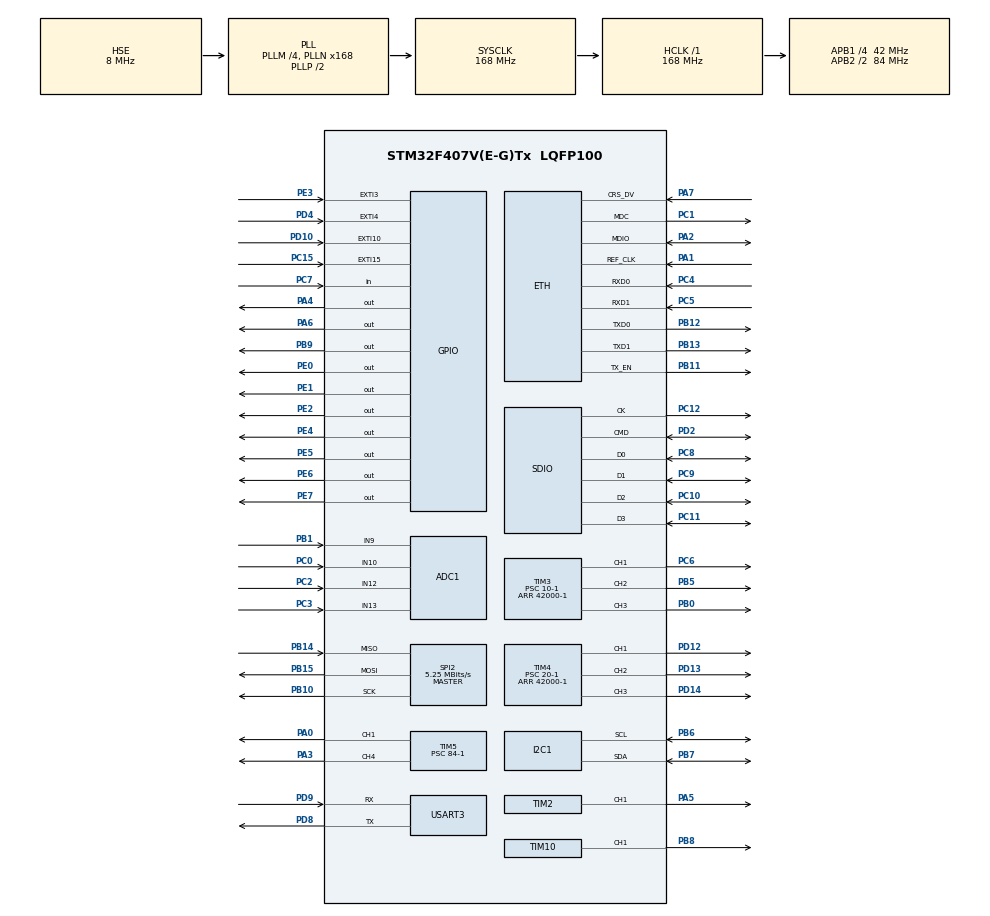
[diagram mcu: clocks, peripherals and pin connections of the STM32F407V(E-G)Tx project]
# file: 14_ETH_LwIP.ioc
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ADC1.Channel-0\#ChannelRegularConversion=ADC_CHANNEL_10
ADC1.Channel-1\#ChannelRegularConversion=ADC_CHANNEL_12
ADC1.Channel-2\#ChannelRegularConversion=ADC_CHANNEL_13
ADC1.Channel-3\#ChannelRegularConversion=ADC_CHANNEL_9
ADC1.ContinuousConvMode=ENABLE
ADC1.DMAContinuousRequests=ENABLE
ADC1.NbrOfConversion=4
ADC1.NbrOfConversionFlag=1
ADC1.Rank-0\#ChannelRegularConversion=1
ADC1.Rank-1\#ChannelRegularConversion=2
ADC1.Rank-2\#ChannelRegularConversion=3
ADC1.Rank-3\#ChannelRegularConversion=4
ADC1.SamplingTime-0\#ChannelRegularConversion=ADC_SAMPLETIME_84CYCLES
ADC1.SamplingTime-1\#ChannelRegularConversion=ADC_SAMPLETIME_84CYCLES
ADC1.SamplingTime-2\#ChannelRegularConversion=ADC_SAMPLETIME_84CYCLES
ADC1.SamplingTime-3\#ChannelRegularConversion=ADC_SAMPLETIME_84CYCLES
ADC1.ScanConvMode=ENABLE
ADC1.master=1
Dma.ADC1.0.Direction=DMA_PERIPH_TO_MEMORY
Dma.ADC1.0.FIFOMode=DMA_FIFOMODE_DISABLE
Dma.ADC1.0.Instance=DMA2_Stream0
Dma.ADC1.0.MemDataAlignment=DMA_MDATAALIGN_HALFWORD
Dma.ADC1.0.MemInc=DMA_MINC_ENABLE
Dma.ADC1.0.Mode=DMA_CIRCULAR
Dma.ADC1.0.PeriphDataAlignment=DMA_PDATAALIGN_HALFWORD
Dma.ADC1.0.PeriphInc=DMA_PINC_DISABLE
Dma.ADC1.0.Priority=DMA_PRIORITY_LOW
Dma.Request0=ADC1
Dma.Request1=SDIO_TX
Dma.Request2=SDIO_RX
Dma.SDIO_RX.2.Direction=DMA_PERIPH_TO_MEMORY
Dma.SDIO_RX.2.FIFOMode=DMA_FIFOMODE_ENABLE
Dma.SDIO_RX.2.FIFOThreshold=DMA_FIFO_THRESHOLD_FULL
Dma.SDIO_RX.2.Instance=DMA2_Stream6
Dma.SDIO_RX.2.MemBurst=DMA_MBURST_INC4
Dma.SDIO_RX.2.MemDataAlignment=DMA_MDATAALIGN_WORD
Dma.SDIO_RX.2.MemInc=DMA_MINC_ENABLE
Dma.SDIO_RX.2.Mode=DMA_PFCTRL
Dma.SDIO_RX.2.PeriphBurst=DMA_PBURST_INC4
Dma.SDIO_RX.2.PeriphDataAlignment=DMA_PDATAALIGN_WORD
Dma.SDIO_RX.2.PeriphInc=DMA_PINC_DISABLE
Dma.SDIO_RX.2.Priority=DMA_PRIORITY_LOW
Dma.SDIO_TX.1.Direction=DMA_MEMORY_TO_PERIPH
Dma.SDIO_TX.1.FIFOMode=DMA_FIFOMODE_ENABLE
Dma.SDIO_TX.1.FIFOThreshold=DMA_FIFO_THRESHOLD_FULL
Dma.SDIO_TX.1.Instance=DMA2_Stream3
Dma.SDIO_TX.1.MemBurst=DMA_MBURST_INC4
Dma.SDIO_TX.1.MemDataAlignment=DMA_MDATAALIGN_WORD
Dma.SDIO_TX.1.MemInc=DMA_MINC_ENABLE
Dma.SDIO_TX.1.Mode=DMA_PFCTRL
Dma.SDIO_TX.1.PeriphBurst=DMA_PBURST_INC4
Dma.SDIO_TX.1.PeriphDataAlignment=DMA_PDATAALIGN_WORD
Dma.SDIO_TX.1.PeriphInc=DMA_PINC_DISABLE
Dma.SDIO_TX.1.Priority=DMA_PRIORITY_LOW
ETH.MediaInterface=HAL_ETH_RMII_MODE
FATFS.USE_DMA_CODE_SD=1
FATFS._MAX_SS=512
FATFS._USE_LFN=1
I2C1.I2C_Mode=I2C_Fast
LWIP.BSP.number=1
LWIP.CHECKSUM_BY_HARDWARE=1
LWIP.GATEWAY_ADDRESS=192.168.035.001
LWIP.IP_ADDRESS=192.168.035.209
LWIP.LWIP_DHCP=0
LWIP.NETMASK_ADDRESS=255.255.255.000
LWIP.Version=v2.1.2_Cube
LWIP0.BSP.STBoard=false
LWIP0.BSP.api=BSP_COMPONENT_DRIVER
LWIP0.BSP.component=DP83848
LWIP0.BSP.instance=DP83848
LWIP0.BSP.name=Driver_PHY
LWIP0.BSP.semaphore=S_DP83848
LWIP0.BSP.solution=DP83848
Mcu.Family=STM32F4
Mcu.Name=STM32F407V(E-G)Tx
Mcu.Package=LQFP100
NVIC.DMA2_Stream0_IRQn=true\:0\:0\:false\:false\:true\:false\:true\:true
NVIC.DMA2_Stream3_IRQn=true\:0\:0\:false\:false\:true\:false\:true\:true
NVIC.DMA2_Stream6_IRQn=true\:0\:0\:false\:false\:true\:false\:true\:true
NVIC.EXTI15_10_IRQn=true\:0\:0\:false\:true\:true\:5\:true\:true\:true
NVIC.EXTI3_IRQn=true\:0\:0\:false\:true\:true\:3\:true\:true\:true
NVIC.EXTI4_IRQn=true\:0\:0\:false\:true\:true\:4\:true\:true\:true
NVIC.PriorityGroup=NVIC_PRIORITYGROUP_4
NVIC.SDIO_IRQn=true\:0\:0\:false\:false\:true\:true\:true\:true
NVIC.TIM7_IRQn=true\:0\:0\:false\:true\:true\:2\:true\:true\:true
NVIC.USART3_IRQn=true\:0\:0\:false\:true\:true\:1\:true\:true\:true
PA0-WKUP.Signal=S_TIM5_CH1
PA1.Mode=RMII
PA1.Signal=ETH_REF_CLK
PA2.Mode=RMII
PA2.Signal=ETH_MDIO
PA3.Signal=S_TIM5_CH4
PA4.Signal=GPIO_Output
PA5.Signal=S_TIM2_CH1_ETR
PA6.Signal=GPIO_Output
PA7.Mode=RMII
PA7.Signal=ETH_CRS_DV
PB0.Signal=S_TIM3_CH3
PB1.Signal=ADCx_IN9
PB10.Mode=Full_Duplex_Master
PB10.Signal=SPI2_SCK
PB11.Mode=RMII
PB11.Signal=ETH_TX_EN
PB12.Mode=RMII
PB12.Signal=ETH_TXD0
PB13.Mode=RMII
PB13.Signal=ETH_TXD1
PB14.Mode=Full_Duplex_Master
PB14.Signal=SPI2_MISO
PB15.Mode=Full_Duplex_Master
PB15.Signal=SPI2_MOSI
PB5.Signal=S_TIM3_CH2
PB6.Mode=I2C
PB6.Signal=I2C1_SCL
PB7.Mode=I2C
PB7.Signal=I2C1_SDA
PB8.Signal=S_TIM10_CH1
PB9.Signal=GPIO_Output
PC0.Signal=ADCx_IN10
PC1.Mode=RMII
PC1.Signal=ETH_MDC
PC10.Mode=SD_4_bits_Wide_bus
PC10.Signal=SDIO_D2
PC11.Mode=SD_4_bits_Wide_bus
PC11.Signal=SDIO_D3
PC12.Mode=SD_4_bits_Wide_bus
PC12.Signal=SDIO_CK
PC15-OSC32_OUT.Signal=GPXTI15
PC2.Signal=ADCx_IN12
PC3.Signal=ADCx_IN13
PC4.Mode=RMII
PC4.Signal=ETH_RXD0
PC5.Mode=RMII
PC5.Signal=ETH_RXD1
PC6.Signal=S_TIM3_CH1
PC7.Signal=GPIO_Input
PC8.Mode=SD_4_bits_Wide_bus
PC8.Signal=SDIO_D0
PC9.Mode=SD_4_bits_Wide_bus
PC9.Signal=SDIO_D1
PD10.Signal=GPXTI10
PD12.Signal=S_TIM4_CH1
PD13.Signal=S_TIM4_CH2
PD14.Signal=S_TIM4_CH3
PD2.Mode=SD_4_bits_Wide_bus
PD2.Signal=SDIO_CMD
PD4.Signal=GPXTI4
PD8.Mode=Asynchronous
PD8.Signal=USART3_TX
PD9.Mode=Asynchronous
PD9.Signal=USART3_RX
PE0.Signal=GPIO_Output
PE1.Signal=GPIO_Output
PE2.Signal=GPIO_Output
PE3.Signal=GPXTI3
PE4.Signal=GPIO_Output
PE5.Signal=GPIO_Output
PE6.Signal=GPIO_Output
PE7.Signal=GPIO_Output
PH0-OSC_IN.Mode=HSE-External-Oscillator
PH0-OSC_IN.Signal=RCC_OSC_IN
PH1-OSC_OUT.Mode=HSE-External-Oscillator
PH1-OSC_OUT.Signal=RCC_OSC_OUT
ProjectManager.HeapSize=0x200
ProjectManager.StackSize=0x400
ProjectManager.TargetToolchain=STM32CubeIDE
RCC.48MHZClocksFreq_Value=48000000
RCC.AHBFreq_Value=168000000
RCC.APB1CLKDivider=RCC_HCLK_DIV4
RCC.APB1Freq_Value=42000000
RCC.APB1TimFreq_Value=84000000
RCC.APB2CLKDivider=RCC_HCLK_DIV2
RCC.APB2Freq_Value=84000000
RCC.APB2TimFreq_Value=168000000
RCC.CortexFreq_Value=168000000
RCC.HCLKFreq_Value=168000000
RCC.HSE_VALUE=8000000
RCC.HSI_VALUE=16000000
RCC.LSE_VALUE=32768
RCC.PLLM=4
RCC.PLLN=168
RCC.PLLQ=7
RCC.PLLSourceVirtual=RCC_PLLSOURCE_HSE
RCC.SYSCLKFreq_VALUE=168000000
RCC.SYSCLKSource=RCC_SYSCLKSOURCE_PLLCLK
RCC.VCOOutputFreq_Value=336000000
SH.ADCx_IN10.0=ADC1_IN10,IN10
SH.ADCx_IN12.0=ADC1_IN12,IN12
SH.ADCx_IN13.0=ADC1_IN13,IN13
SH.ADCx_IN9.0=ADC1_IN9,IN9
SH.S_TIM10_CH1.0=TIM10_CH1,PWM Generation1 CH1
SH.S_TIM2_CH1_ETR.0=TIM2_CH1,PWM Generation1 CH1
SH.S_TIM3_CH1.0=TIM3_CH1,PWM Generation1 CH1
SH.S_TIM3_CH2.0=TIM3_CH2,PWM Generation2 CH2
SH.S_TIM3_CH3.0=TIM3_CH3,PWM Generation3 CH3
SH.S_TIM4_CH1.0=TIM4_CH1,PWM Generation1 CH1
SH.S_TIM4_CH2.0=TIM4_CH2,PWM Generation2 CH2
SH.S_TIM4_CH3.0=TIM4_CH3,PWM Generation3 CH3
SH.S_TIM5_CH1.0=TIM5_CH1,PWM Generation1 CH1
SH.S_TIM5_CH4.0=TIM5_CH4,PWM Generation4 CH4
SPI2.BaudRatePrescaler=SPI_BAUDRATEPRESCALER_8
SPI2.CLKPhase=SPI_PHASE_2EDGE
SPI2.CLKPolarity=SPI_POLARITY_HIGH
SPI2.CalculateBaudRate=5.25 MBits/s
SPI2.Direction=SPI_DIRECTION_2LINES
SPI2.Mode=SPI_MODE_MASTER
SPI2.VirtualType=VM_MASTER
TIM10.Channel=TIM_CHANNEL_1
TIM10.Period=10000-1
TIM10.Prescaler=336-1
TIM10.Pulse=100
TIM2.Channel-PWM\ Generation1\ CH1=TIM_CHANNEL_1
TIM2.Period=168-1
TIM2.Prescaler=1000-1
TIM2.Pulse-PWM\ Generation1\ CH1=84
TIM3.Channel-PWM\ Generation1\ CH1=TIM_CHANNEL_1
TIM3.Channel-PWM\ Generation2\ CH2=TIM_CHANNEL_2
TIM3.Channel-PWM\ Generation3\ CH3=TIM_CHANNEL_3
TIM3.Period=42000-1
TIM3.Prescaler=10-1
TIM3.Pulse-PWM\ Generation1\ CH1=21000-1
TIM3.Pulse-PWM\ Generation2\ CH2=10500-1
TIM3.Pulse-PWM\ Generation3\ CH3=5250-1
TIM4.Channel-PWM\ Generation1\ CH1=TIM_CHANNEL_1
TIM4.Channel-PWM\ Generation2\ CH2=TIM_CHANNEL_2
TIM4.Channel-PWM\ Generation3\ CH3=TIM_CHANNEL_3
TIM4.Period=42000-1
TIM4.Prescaler=20-1
TIM4.Pulse-PWM\ Generation1\ CH1=21000-1
TIM4.Pulse-PWM\ Generation2\ CH2=10500-1
TIM4.Pulse-PWM\ Generation3\ CH3=5250-1
TIM5.Channel-PWM\ Generation1\ CH1=TIM_CHANNEL_1
TIM5.Channel-PWM\ Generation4\ CH4=TIM_CHANNEL_4
TIM5.Period=10000-1
TIM5.Prescaler=84-1
TIM5.Pulse-PWM\ Generation4\ CH4=5000
TIM7.Period=8400-1
TIM7.Prescaler=10-1
USART3.VirtualMode=VM_ASYNC
VP_FATFS_VS_SDIO.Mode=SDIO
VP_LWIP_VS_Enabled.Mode=Enabled
VP_TIM10_VS_ClockSourceINT.Mode=Enable_Timer
VP_TIM2_VS_ClockSourceINT.Mode=Internal
VP_TIM3_VS_ClockSourceINT.Mode=Internal
VP_TIM4_VS_ClockSourceINT.Mode=Internal
VP_TIM5_VS_ClockSourceINT.Mode=Internal
VP_TIM7_VS_ClockSourceINT.Mode=Enable_Timer
board=custom

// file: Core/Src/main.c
/* USER CODE BEGIN Header */
/**
 ******************************************************************************
 * @file           : main.c
 * @brief          : Main program body
 ******************************************************************************
 * @attention
 *
 * Copyright (c) 2024 STMicroelectronics.
 * All rights reserved.
 *
 * This software is licensed under terms that can be found in the LICENSE file
 * in the root directory of this software component.
 * If no LICENSE file comes with this software, it is provided AS-IS.
 *
 ******************************************************************************
 */
/* USER CODE END Header */
#include "main.h"
#include "fatfs.h"
#include "lwip.h"

/* USER CODE BEGIN Includes */
#include <stdio.h>
#include <string.h>
#include "CLCD.h"
#include "7SEG.h"
#include <math.h>
#include "VS1003.h"
#include "MP3Sample.h"
#include "udp_echoserver.h"
/* USER CODE END Includes */

ADC_HandleTypeDef hadc1;
DMA_HandleTypeDef hdma_adc1;

I2C_HandleTypeDef hi2c1;

SD_HandleTypeDef hsd;
DMA_HandleTypeDef hdma_sdio_tx;
DMA_HandleTypeDef hdma_sdio_rx;

SPI_HandleTypeDef hspi2;

TIM_HandleTypeDef htim2;
TIM_HandleTypeDef htim3;
TIM_HandleTypeDef htim4;
TIM_HandleTypeDef htim5;
TIM_HandleTypeDef htim7;
TIM_HandleTypeDef htim10;

UART_HandleTypeDef huart3;

/* USER CODE BEGIN PV */
uint8_t rx3_data;
uint8_t buf = 0;
uint8_t rx3_buf[100];

uint8_t sw1_flag = 0;
uint8_t sw2_flag = 0;
uint8_t sw3_flag = 0;
uint8_t sw4_flag = 0;

extern uint8_t udp_data;
extern uint8_t udp_flag;
/* USER CODE END PV */

void SystemClock_Config(void);
static void MX_GPIO_Init(void);
static void MX_DMA_Init(void);
static void MX_USART3_UART_Init(void);
static void MX_TIM7_Init(void);
static void MX_TIM3_Init(void);
static void MX_TIM4_Init(void);
static void MX_TIM10_Init(void);
static void MX_TIM2_Init(void);
static void MX_TIM5_Init(void);
static void MX_ADC1_Init(void);
static void MX_I2C1_Init(void);
static void MX_SPI2_Init(void);
static void MX_SDIO_SD_Init(void);
static void MX_NVIC_Init(void);
/* USER CODE BEGIN PFP */
int _write(int file, char *p, int len)
{
	HAL_UART_Transmit(&huart3, p, len, 10);
	return len;
}

void HAL_UART_RxCpltCallback(UART_HandleTypeDef *huart)
{
	if (huart->Instance == USART3)
	{
		if (buf < 100 - 1)
		{
			buf++;
		}
		else
		{
			buf = 0;
		}

		if (rx3_buf[buf - 1] == '\n')
		{
			rx3_buf[buf - 1] = '\0';
			buf = 0;
		}

		HAL_UART_Receive_IT(&huart3, &rx3_buf[buf], 1);
	}
}

void HAL_TIM_PeriodElapsedCallback(TIM_HandleTypeDef *htim)
{
	static unsigned char cnt = 0;

//	if (htim->Instance == TIM7) {
//		/*Sin wave*/
//		HAL_DAC_SetValue(&hdac, DAC_CHANNEL_1, DAC_ALIGN_12B_R, (sinf(2 * 3.1415926535f * 100 * cnt / 1000.f) + 1) * 2047); // 100Hz code (this code MAX Frequency 499Hz)
//		cnt++;
//		if(cnt > 999) cnt = 0;
//	}
}

void HAL_GPIO_EXTI_Callback(uint16_t GPIO_Pin)
{
	if (GPIO_Pin == GPIO_PIN_3)
	{
		sw1_flag = 1;
	}
	if (GPIO_Pin == GPIO_PIN_15)
	{
		sw2_flag = 1;
	}
	if (GPIO_Pin == GPIO_PIN_4)
	{
		sw3_flag = 1;
	}
	if (GPIO_Pin == GPIO_PIN_10)
	{
		sw4_flag = 1;
	}
}
/* USER CODE END PFP */

int main(void)
{
	/* USER CODE BEGIN 1 */
	volatile uint16_t adcval[4];
	/* USER CODE END 1 */

	/* MCU Configuration--------------------------------------------------------*/

	/* Reset of all peripherals, Initializes the Flash interface and the Systick. */
	HAL_Init();

	/* Configure the system clock */
	SystemClock_Config();

	/* Initialize all configured peripherals */
	MX_GPIO_Init();
	MX_DMA_Init();
	MX_USART3_UART_Init();
	MX_TIM7_Init();
	MX_TIM3_Init();
	MX_TIM4_Init();
	MX_TIM10_Init();
	MX_TIM2_Init();
	MX_TIM5_Init();
	MX_ADC1_Init();
	MX_I2C1_Init();
	MX_SPI2_Init();
	MX_SDIO_SD_Init();
	MX_FATFS_Init();
	MX_LWIP_Init();

	/* Initialize interrupts */
	MX_NVIC_Init();
	/* USER CODE BEGIN 2 */
	HAL_GPIO_WritePin(GPIOD, GPIO_PIN_12, GPIO_PIN_SET);
	HAL_GPIO_WritePin(GPIOD, GPIO_PIN_13, GPIO_PIN_SET);
	HAL_GPIO_WritePin(GPIOD, GPIO_PIN_14, GPIO_PIN_SET);
	HAL_GPIO_WritePin(GPIOC, GPIO_PIN_6, GPIO_PIN_SET);
	HAL_GPIO_WritePin(GPIOB, GPIO_PIN_0, GPIO_PIN_SET);
	HAL_GPIO_WritePin(GPIOB, GPIO_PIN_5, GPIO_PIN_SET);

//	HAL_UART_Receive_IT(&huart3, &rx3_buf[buf], 1);
	HAL_TIM_Base_Start_IT(&htim7);

//	HAL_TIM_PWM_Start(&htim3, TIM_CHANNEL_1);
//	HAL_TIM_PWM_Start(&htim3, TIM_CHANNEL_2);
//	HAL_TIM_PWM_Start(&htim3, TIM_CHANNEL_3);
//	HAL_TIM_PWM_Start(&htim4, TIM_CHANNEL_1);
//	HAL_TIM_PWM_Start(&htim4, TIM_CHANNEL_2);
//	HAL_TIM_PWM_Start(&htim4, TIM_CHANNEL_3);

	/*Servo motor*/
//	HAL_TIM_PWM_Start(&htim10, TIM_CHANNEL_1);
//	TIM10->CCR1 = 1500;
	/*Buzzer*/
//	HAL_TIM_PWM_Start(&htim2, TIM_CHANNEL_1);
//	TIM2->ARR = 500 - 1;
//	TIM2->CCR1 = 250;
	/*DC motor 100Hz Positive*/
//	HAL_TIM_PWM_Start(&htim5, TIM_CHANNEL_4); // motor driver input A, 50% pwm
//	HAL_TIM_PWM_Start(&htim5, TIM_CHANNEL_1); // motor driver input B, 0% pwm
	/*DC motor 100Hz Negative*/
//	TIM5->CCR4 = 0;
//	TIM5->CCR1 = 5000;
//
//	HAL_ADC_Start_DMA(&hadc1, &adcval[0], 4);
//	HAL_DAC_Start(&hdac, DAC_CHANNEL_1);
	VS1003_Init();
	VS1003_SoftReset();

	/* tcp echo server Init */
	udp_echoserver_init();

	CLCD_GPIO_Init();
	CLCD_Init();

	CLCD_Puts(0, 0, "Welcome to");
	CLCD_Puts(0, 1, "Kkang Home");

	CLCD_Clear();

//	_7SEG_GPIO_Init();
	/* USER CODE END 2 */

	/* Infinite loop */
	/* USER CODE BEGIN WHILE */
	uint8_t a = 0;
	uint8_t str[20];
	uint16_t ccr = 0;
	uint16_t arr = 1000;
	uint16_t psc = 1000;
	uint8_t ud_flag = 0;
	uint16_t dacval = 0;
	uint8_t eeprom[10] = { 0x00, 0x11, 0x22, 0x33, 0x44, 0x55, 0x66, 0x77, 0x88, 0x99 };
	int i = 0;

	BYTE buf[32] = "Hello world";
	uint32_t bw, br;
	uint8_t pp_flag = 0;

	/*FS Initialized ===> allocate '0:/'Drive*/
	if ((retSD = f_mount(&SDFatFS, &SDPath[0], 1)) == FR_OK)
	{
		sprintf(str, "f_mount OK %d", retSD);
		CLCD_Puts(0, 0, str);
	}
	else
	{
		sprintf(str, "f_mount failed %d", retSD);
		CLCD_Puts(0, 0, str);
	}

	/*File List in SD Card*/
	DIR dir;
	FILINFO filinfo;
	uint16_t filecnt = 0;

	if ((retSD = f_opendir(&dir, "0:/")) == FR_OK)
	{
		while (1)
		{
			retSD = f_readdir(&dir, &filinfo);
			if (dir.sect == 0)
				break;

			printf("%s\t0x%x\n", filinfo.fname, filinfo.fattrib);
			filecnt++;
		}
		printf("\nTotal %d file(s)..\n\n", filecnt);
	}
	else
	{
		printf("The file/directory object is invalid! %d\n", retSD);
	}

	/*Open File*/
	unsigned char filename[20] = "0:/1.mp3";
	uint16_t index = 0;

	if ((retSD = f_open(&SDFile, filename, FA_OPEN_EXISTING | FA_READ)) == FR_OK)
	{
		CLCD_Clear();
		sprintf(str, "%s opened", filename);
		CLCD_Puts(0, 0, str);
	}
	else
	{
		sprintf(str, "open error %d\n", retSD);
		CLCD_Puts(0, 0, str);
	}

	while (1)
	{
		if (MP3_DREQ == 1)
		{
			if (pp_flag)
			{
				f_read(&SDFile, buf, 32, &br);
				if (br >= 32)
				{
					VS1003_WriteData(buf);
				}
				else
				{

				}
			}
		}

		if (udp_flag)
		{
			udp_flag = 0;
			switch (udp_data)
			{
				case '1':
					sw1_flag = 1;
					break;
				case '2':
					sw2_flag = 1;
					break;
				case '3':
					sw3_flag = 1;
					break;
			}
		}

		/*play to previous song*/
		if (sw1_flag)
		{
			sw1_flag = 0;

			index = index == 0 ? 2 : index - 1;
			switch (index)
			{
				case 0:
					strcpy(filename, "0:/1.mp3");
					break;
				case 1:
					strcpy(filename, "0:/2.wav");
					break;
				case 2:
					strcpy(filename, "0:/3.mp3");
					break;
			}

			f_close(&SDFile);

			if ((retSD = f_open(&SDFile, filename, FA_OPEN_EXISTING | FA_READ)) == FR_OK)
			{
				CLCD_Clear();
				sprintf(str, "%s opened", filename);
				CLCD_Puts(0, 0, str);
			}
			else
			{
				sprintf(str, "open error %d\n", retSD);
				CLCD_Puts(0, 0, str);
			}

			VS1003_SoftReset();
		}

		/*pause & play song*/
		if (sw2_flag)
		{
			sw2_flag = 0;
			if (pp_flag)
			{
				pp_flag = 0;
				CLCD_Puts(0, 1, "paused");
			}
			else
			{
				pp_flag = 1;
				CLCD_Puts(0, 1, "playing");
			}
		}

		/*play to next song*/
		if (sw3_flag)
		{
			sw3_flag = 0;

			index = index == 2 ? 0 : index + 1;
			switch (index)
			{
				case 0:
					strcpy(filename, "0:/1.mp3");
					break;
				case 1:
					strcpy(filename, "0:/2.wav");
					break;
				case 2:
					strcpy(filename, "0:/3.mp3");
					break;
			}

			f_close(&SDFile);

			if ((retSD = f_open(&SDFile, filename, FA_OPEN_EXISTING | FA_READ)) == FR_OK)
			{
				CLCD_Clear();
				sprintf(str, "%s opened", filename);
				CLCD_Puts(0, 0, str);
			}
			else
			{
				sprintf(str, "open error %d\n", retSD);
				CLCD_Puts(0, 0, str);
			}

			VS1003_SoftReset();
		}

		/* Read a received packet from the Ethernet buffers and send it
		 to the lwIP for handling */
		ethernetif_input(&gnetif);

		/* Handle timeouts */
		sys_check_timeouts();

		/* USER CODE END WHILE */

	}
}

void SystemClock_Config(void)
{
	RCC_OscInitTypeDef RCC_OscInitStruct = { 0 };
	RCC_ClkInitTypeDef RCC_ClkInitStruct = { 0 };

	/** Configure the main internal regulator output voltage
	 */
	__HAL_RCC_PWR_CLK_ENABLE();
	__HAL_PWR_VOLTAGESCALING_CONFIG(PWR_REGULATOR_VOLTAGE_SCALE1);

	/** Initializes the RCC Oscillators according to the specified parameters
	 * in the RCC_OscInitTypeDef structure.
	 */
	RCC_OscInitStruct.OscillatorType = RCC_OSCILLATORTYPE_HSE;
	RCC_OscInitStruct.HSEState = RCC_HSE_ON;
	RCC_OscInitStruct.PLL.PLLState = RCC_PLL_ON;
	RCC_OscInitStruct.PLL.PLLSource = RCC_PLLSOURCE_HSE;
	RCC_OscInitStruct.PLL.PLLM = 4;
	RCC_OscInitStruct.PLL.PLLN = 168;
	RCC_OscInitStruct.PLL.PLLP = RCC_PLLP_DIV2;
	RCC_OscInitStruct.PLL.PLLQ = 7;
	if (HAL_RCC_OscConfig(&RCC_OscInitStruct) != HAL_OK)
	{
		Error_Handler();
	}

	/** Initializes the CPU, AHB and APB buses clocks
	 */
	RCC_ClkInitStruct.ClockType = RCC_CLOCKTYPE_HCLK | RCC_CLOCKTYPE_SYSCLK | RCC_CLOCKTYPE_PCLK1 | RCC_CLOCKTYPE_PCLK2;
	RCC_ClkInitStruct.SYSCLKSource = RCC_SYSCLKSOURCE_PLLCLK;
	RCC_ClkInitStruct.AHBCLKDivider = RCC_SYSCLK_DIV1;
	RCC_ClkInitStruct.APB1CLKDivider = RCC_HCLK_DIV4;
	RCC_ClkInitStruct.APB2CLKDivider = RCC_HCLK_DIV2;

	if (HAL_RCC_ClockConfig(&RCC_ClkInitStruct, FLASH_LATENCY_5) != HAL_OK)
	{
		Error_Handler();
	}
}

/**
 * @brief NVIC Configuration.
 * @retval None
 */
static void MX_NVIC_Init(void)
{
	/* USART3_IRQn interrupt configuration */
	HAL_NVIC_SetPriority(USART3_IRQn, 0, 0);
	HAL_NVIC_EnableIRQ(USART3_IRQn);
	/* TIM7_IRQn interrupt configuration */
	HAL_NVIC_SetPriority(TIM7_IRQn, 0, 0);
	HAL_NVIC_EnableIRQ(TIM7_IRQn);
	/* EXTI3_IRQn interrupt configuration */
	HAL_NVIC_SetPriority(EXTI3_IRQn, 0, 0);
	HAL_NVIC_EnableIRQ(EXTI3_IRQn);
	/* EXTI4_IRQn interrupt configuration */
	HAL_NVIC_SetPriority(EXTI4_IRQn, 0, 0);
	HAL_NVIC_EnableIRQ(EXTI4_IRQn);
	/* EXTI15_10_IRQn interrupt configuration */
	HAL_NVIC_SetPriority(EXTI15_10_IRQn, 0, 0);
	HAL_NVIC_EnableIRQ(EXTI15_10_IRQn);
}

static void MX_ADC1_Init(void)
{

	ADC_ChannelConfTypeDef sConfig = { 0 };

	/** Configure the global features of the ADC (Clock, Resolution, Data Alignment and number of conversion)
	 */
	hadc1.Instance = ADC1;
	hadc1.Init.ClockPrescaler = ADC_CLOCK_SYNC_PCLK_DIV4;
	hadc1.Init.Resolution = ADC_RESOLUTION_12B;
	hadc1.Init.ScanConvMode = ENABLE;
	hadc1.Init.ContinuousConvMode = ENABLE;
	hadc1.Init.DiscontinuousConvMode = DISABLE;
	hadc1.Init.ExternalTrigConvEdge = ADC_EXTERNALTRIGCONVEDGE_NONE;
	hadc1.Init.ExternalTrigConv = ADC_SOFTWARE_START;
	hadc1.Init.DataAlign = ADC_DATAALIGN_RIGHT;
	hadc1.Init.NbrOfConversion = 4;
	hadc1.Init.DMAContinuousRequests = ENABLE;
	hadc1.Init.EOCSelection = ADC_EOC_SINGLE_CONV;
	if (HAL_ADC_Init(&hadc1) != HAL_OK)
	{
		Error_Handler();
	}

	/** Configure for the selected ADC regular channel its corresponding rank in the sequencer and its sample time.
	 */
	sConfig.Channel = ADC_CHANNEL_10;
	sConfig.Rank = 1;
	sConfig.SamplingTime = ADC_SAMPLETIME_84CYCLES;
	if (HAL_ADC_ConfigChannel(&hadc1, &sConfig) != HAL_OK)
	{
		Error_Handler();
	}

	/** Configure for the selected ADC regular channel its corresponding rank in the sequencer and its sample time.
	 */
	sConfig.Channel = ADC_CHANNEL_12;
	sConfig.Rank = 2;
	if (HAL_ADC_ConfigChannel(&hadc1, &sConfig) != HAL_OK)
	{
		Error_Handler();
	}

	/** Configure for the selected ADC regular channel its corresponding rank in the sequencer and its sample time.
	 */
	sConfig.Channel = ADC_CHANNEL_13;
	sConfig.Rank = 3;
	if (HAL_ADC_ConfigChannel(&hadc1, &sConfig) != HAL_OK)
	{
		Error_Handler();
	}

	/** Configure for the selected ADC regular channel its corresponding rank in the sequencer and its sample time.
	 */
	sConfig.Channel = ADC_CHANNEL_9;
	sConfig.Rank = 4;
	if (HAL_ADC_ConfigChannel(&hadc1, &sConfig) != HAL_OK)
	{
		Error_Handler();
	}

}

static void MX_I2C1_Init(void)
{

	hi2c1.Instance = I2C1;
	hi2c1.Init.ClockSpeed = 400000;
	hi2c1.Init.DutyCycle = I2C_DUTYCYCLE_2;
	hi2c1.Init.OwnAddress1 = 0;
	hi2c1.Init.AddressingMode = I2C_ADDRESSINGMODE_7BIT;
	hi2c1.Init.DualAddressMode = I2C_DUALADDRESS_DISABLE;
	hi2c1.Init.OwnAddress2 = 0;
	hi2c1.Init.GeneralCallMode = I2C_GENERALCALL_DISABLE;
	hi2c1.Init.NoStretchMode = I2C_NOSTRETCH_DISABLE;
	if (HAL_I2C_Init(&hi2c1) != HAL_OK)
	{
		Error_Handler();
	}

}

static void MX_SDIO_SD_Init(void)
{

	hsd.Instance = SDIO;
	hsd.Init.ClockEdge = SDIO_CLOCK_EDGE_RISING;
	hsd.Init.ClockBypass = SDIO_CLOCK_BYPASS_DISABLE;
	hsd.Init.ClockPowerSave = SDIO_CLOCK_POWER_SAVE_DISABLE;
	hsd.Init.BusWide = SDIO_BUS_WIDE_4B;
	hsd.Init.HardwareFlowControl = SDIO_HARDWARE_FLOW_CONTROL_DISABLE;
	hsd.Init.ClockDiv = 0;

}

static void MX_SPI2_Init(void)
{

	/* SPI2 parameter configuration*/
	hspi2.Instance = SPI2;
	hspi2.Init.Mode = SPI_MODE_MASTER;
	hspi2.Init.Direction = SPI_DIRECTION_2LINES;
	hspi2.Init.DataSize = SPI_DATASIZE_8BIT;
	hspi2.Init.CLKPolarity = SPI_POLARITY_HIGH;
	hspi2.Init.CLKPhase = SPI_PHASE_2EDGE;
	hspi2.Init.NSS = SPI_NSS_SOFT;
	hspi2.Init.BaudRatePrescaler = SPI_BAUDRATEPRESCALER_8;
	hspi2.Init.FirstBit = SPI_FIRSTBIT_MSB;
	hspi2.Init.TIMode = SPI_TIMODE_DISABLE;
	hspi2.Init.CRCCalculation = SPI_CRCCALCULATION_DISABLE;
	hspi2.Init.CRCPolynomial = 10;
	if (HAL_SPI_Init(&hspi2) != HAL_OK)
	{
		Error_Handler();
	}

}

static void MX_TIM2_Init(void)
{

	TIM_ClockConfigTypeDef sClockSourceConfig = { 0 };
	TIM_MasterConfigTypeDef sMasterConfig = { 0 };
	TIM_OC_InitTypeDef sConfigOC = { 0 };

	htim2.Instance = TIM2;
	htim2.Init.Prescaler = 1000 - 1;
	htim2.Init.CounterMode = TIM_COUNTERMODE_UP;
	htim2.Init.Period = 168 - 1;
	htim2.Init.ClockDivision = TIM_CLOCKDIVISION_DIV1;
	htim2.Init.AutoReloadPreload = TIM_AUTORELOAD_PRELOAD_DISABLE;
	if (HAL_TIM_Base_Init(&htim2) != HAL_OK)
	{
		Error_Handler();
	}
	sClockSourceConfig.ClockSource = TIM_CLOCKSOURCE_INTERNAL;
	if (HAL_TIM_ConfigClockSource(&htim2, &sClockSourceConfig) != HAL_OK)
	{
		Error_Handler();
	}
	if (HAL_TIM_PWM_Init(&htim2) != HAL_OK)
	{
		Error_Handler();
	}
	sMasterConfig.MasterOutputTrigger = TIM_TRGO_RESET;
	sMasterConfig.MasterSlaveMode = TIM_MASTERSLAVEMODE_DISABLE;
	if (HAL_TIMEx_MasterConfigSynchronization(&htim2, &sMasterConfig) != HAL_OK)
	{
		Error_Handler();
	}
	sConfigOC.OCMode = TIM_OCMODE_PWM1;
	sConfigOC.Pulse = 84;
	sConfigOC.OCPolarity = TIM_OCPOLARITY_HIGH;
	sConfigOC.OCFastMode = TIM_OCFAST_DISABLE;
	if (HAL_TIM_PWM_ConfigChannel(&htim2, &sConfigOC, TIM_CHANNEL_1) != HAL_OK)
	{
		Error_Handler();
	}
	HAL_TIM_MspPostInit(&htim2);

}

static void MX_TIM3_Init(void)
{

	TIM_ClockConfigTypeDef sClockSourceConfig = { 0 };
	TIM_MasterConfigTypeDef sMasterConfig = { 0 };
	TIM_OC_InitTypeDef sConfigOC = { 0 };

	htim3.Instance = TIM3;
	htim3.Init.Prescaler = 10 - 1;
	htim3.Init.CounterMode = TIM_COUNTERMODE_UP;
	htim3.Init.Period = 42000 - 1;
	htim3.Init.ClockDivision = TIM_CLOCKDIVISION_DIV1;
	htim3.Init.AutoReloadPreload = TIM_AUTORELOAD_PRELOAD_DISABLE;
	if (HAL_TIM_Base_Init(&htim3) != HAL_OK)
	{
		Error_Handler();
	}
	sClockSourceConfig.ClockSource = TIM_CLOCKSOURCE_INTERNAL;
	if (HAL_TIM_ConfigClockSource(&htim3, &sClockSourceConfig) != HAL_OK)
	{
		Error_Handler();
	}
	if (HAL_TIM_PWM_Init(&htim3) != HAL_OK)
	{
		Error_Handler();
	}
	sMasterConfig.MasterOutputTrigger = TIM_TRGO_RESET;
	sMasterConfig.MasterSlaveMode = TIM_MASTERSLAVEMODE_DISABLE;
	if (HAL_TIMEx_MasterConfigSynchronization(&htim3, &sMasterConfig) != HAL_OK)
	{
		Error_Handler();
	}
	sConfigOC.OCMode = TIM_OCMODE_PWM1;
	sConfigOC.Pulse = 21000 - 1;
	sConfigOC.OCPolarity = TIM_OCPOLARITY_HIGH;
	sConfigOC.OCFastMode = TIM_OCFAST_DISABLE;
	if (HAL_TIM_PWM_ConfigChannel(&htim3, &sConfigOC, TIM_CHANNEL_1) != HAL_OK)
	{
		Error_Handler();
	}
	sConfigOC.Pulse = 10500 - 1;
	if (HAL_TIM_PWM_ConfigChannel(&htim3, &sConfigOC, TIM_CHANNEL_2) != HAL_OK)
	{
		Error_Handler();
	}
	sConfigOC.Pulse = 5250 - 1;
	if (HAL_TIM_PWM_ConfigChannel(&htim3, &sConfigOC, TIM_CHANNEL_3) != HAL_OK)
	{
		Error_Handler();
	}
	HAL_TIM_MspPostInit(&htim3);

}

static void MX_TIM4_Init(void)
{

	TIM_ClockConfigTypeDef sClockSourceConfig = { 0 };
	TIM_MasterConfigTypeDef sMasterConfig = { 0 };
	TIM_OC_InitTypeDef sConfigOC = { 0 };

	htim4.Instance = TIM4;
	htim4.Init.Prescaler = 20 - 1;
	htim4.Init.CounterMode = TIM_COUNTERMODE_UP;
	htim4.Init.Period = 42000 - 1;
	htim4.Init.ClockDivision = TIM_CLOCKDIVISION_DIV1;
	htim4.Init.AutoReloadPreload = TIM_AUTORELOAD_PRELOAD_DISABLE;
	if (HAL_TIM_Base_Init(&htim4) != HAL_OK)
	{
		Error_Handler();
	}
	sClockSourceConfig.ClockSource = TIM_CLOCKSOURCE_INTERNAL;
	if (HAL_TIM_ConfigClockSource(&htim4, &sClockSourceConfig) != HAL_OK)
	{
		Error_Handler();
	}
	if (HAL_TIM_PWM_Init(&htim4) != HAL_OK)
	{
		Error_Handler();
	}
	sMasterConfig.MasterOutputTrigger = TIM_TRGO_RESET;
	sMasterConfig.MasterSlaveMode = TIM_MASTERSLAVEMODE_DISABLE;
	if (HAL_TIMEx_MasterConfigSynchronization(&htim4, &sMasterConfig) != HAL_OK)
	{
		Error_Handler();
	}
	sConfigOC.OCMode = TIM_OCMODE_PWM1;
	sConfigOC.Pulse = 21000 - 1;
	sConfigOC.OCPolarity = TIM_OCPOLARITY_HIGH;
	sConfigOC.OCFastMode = TIM_OCFAST_DISABLE;
	if (HAL_TIM_PWM_ConfigChannel(&htim4, &sConfigOC, TIM_CHANNEL_1) != HAL_OK)
	{
		Error_Handler();
	}
	sConfigOC.Pulse = 10500 - 1;
	if (HAL_TIM_PWM_ConfigChannel(&htim4, &sConfigOC, TIM_CHANNEL_2) != HAL_OK)
	{
		Error_Handler();
	}
	sConfigOC.Pulse = 5250 - 1;
	if (HAL_TIM_PWM_ConfigChannel(&htim4, &sConfigOC, TIM_CHANNEL_3) != HAL_OK)
	{
		Error_Handler();
	}
	HAL_TIM_MspPostInit(&htim4);

}

static void MX_TIM5_Init(void)
{

	TIM_ClockConfigTypeDef sClockSourceConfig = { 0 };
	TIM_MasterConfigTypeDef sMasterConfig = { 0 };
	TIM_OC_InitTypeDef sConfigOC = { 0 };

	htim5.Instance = TIM5;
	htim5.Init.Prescaler = 84 - 1;
	htim5.Init.CounterMode = TIM_COUNTERMODE_UP;
	htim5.Init.Period = 10000 - 1;
	htim5.Init.ClockDivision = TIM_CLOCKDIVISION_DIV1;
	htim5.Init.AutoReloadPreload = TIM_AUTORELOAD_PRELOAD_DISABLE;
	if (HAL_TIM_Base_Init(&htim5) != HAL_OK)
	{
		Error_Handler();
	}
	sClockSourceConfig.ClockSource = TIM_CLOCKSOURCE_INTERNAL;
	if (HAL_TIM_ConfigClockSource(&htim5, &sClockSourceConfig) != HAL_OK)
	{
		Error_Handler();
	}
	if (HAL_TIM_PWM_Init(&htim5) != HAL_OK)
	{
		Error_Handler();
	}
	sMasterConfig.MasterOutputTrigger = TIM_TRGO_RESET;
	sMasterConfig.MasterSlaveMode = TIM_MASTERSLAVEMODE_DISABLE;
	if (HAL_TIMEx_MasterConfigSynchronization(&htim5, &sMasterConfig) != HAL_OK)
	{
		Error_Handler();
	}
	sConfigOC.OCMode = TIM_OCMODE_PWM1;
	sConfigOC.Pulse = 0;
	sConfigOC.OCPolarity = TIM_OCPOLARITY_HIGH;
	sConfigOC.OCFastMode = TIM_OCFAST_DISABLE;
	if (HAL_TIM_PWM_ConfigChannel(&htim5, &sConfigOC, TIM_CHANNEL_1) != HAL_OK)
	{
		Error_Handler();
	}
	sConfigOC.Pulse = 5000;
	if (HAL_TIM_PWM_ConfigChannel(&htim5, &sConfigOC, TIM_CHANNEL_4) != HAL_OK)
	{
		Error_Handler();
	}
	HAL_TIM_MspPostInit(&htim5);

}

static void MX_TIM7_Init(void)
{

	TIM_MasterConfigTypeDef sMasterConfig = { 0 };

	htim7.Instance = TIM7;
	htim7.Init.Prescaler = 10 - 1;
	htim7.Init.CounterMode = TIM_COUNTERMODE_UP;
	htim7.Init.Period = 8400 - 1;
	htim7.Init.AutoReloadPreload = TIM_AUTORELOAD_PRELOAD_DISABLE;
	if (HAL_TIM_Base_Init(&htim7) != HAL_OK)
	{
		Error_Handler();
	}
	sMasterConfig.MasterOutputTrigger = TIM_TRGO_RESET;
	sMasterConfig.MasterSlaveMode = TIM_MASTERSLAVEMODE_DISABLE;
	if (HAL_TIMEx_MasterConfigSynchronization(&htim7, &sMasterConfig) != HAL_OK)
	{
		Error_Handler();
	}

}

static void MX_TIM10_Init(void)
{

	TIM_OC_InitTypeDef sConfigOC = { 0 };

	htim10.Instance = TIM10;
	htim10.Init.Prescaler = 336 - 1;
	htim10.Init.CounterMode = TIM_COUNTERMODE_UP;
	htim10.Init.Period = 10000 - 1;
	htim10.Init.ClockDivision = TIM_CLOCKDIVISION_DIV1;
	htim10.Init.AutoReloadPreload = TIM_AUTORELOAD_PRELOAD_DISABLE;
	if (HAL_TIM_Base_Init(&htim10) != HAL_OK)
	{
		Error_Handler();
	}
	if (HAL_TIM_PWM_Init(&htim10) != HAL_OK)
	{
		Error_Handler();
	}
	sConfigOC.OCMode = TIM_OCMODE_PWM1;
	sConfigOC.Pulse = 100;
	sConfigOC.OCPolarity = TIM_OCPOLARITY_HIGH;
	sConfigOC.OCFastMode = TIM_OCFAST_DISABLE;
	if (HAL_TIM_PWM_ConfigChannel(&htim10, &sConfigOC, TIM_CHANNEL_1) != HAL_OK)
	{
		Error_Handler();
	}
	HAL_TIM_MspPostInit(&htim10);

}

static void MX_USART3_UART_Init(void)
{

	huart3.Instance = USART3;
	huart3.Init.BaudRate = 115200;
	huart3.Init.WordLength = UART_WORDLENGTH_8B;
	huart3.Init.StopBits = UART_STOPBITS_1;
	huart3.Init.Parity = UART_PARITY_NONE;
	huart3.Init.Mode = UART_MODE_TX_RX;
	huart3.Init.HwFlowCtl = UART_HWCONTROL_NONE;
	huart3.Init.OverSampling = UART_OVERSAMPLING_16;
	if (HAL_UART_Init(&huart3) != HAL_OK)
	{
		Error_Handler();
	}

}

static void MX_DMA_Init(void)
{

	/* DMA controller clock enable */
	__HAL_RCC_DMA2_CLK_ENABLE();

	/* DMA interrupt init */
	/* DMA2_Stream0_IRQn interrupt configuration */
	HAL_NVIC_SetPriority(DMA2_Stream0_IRQn, 0, 0);
	HAL_NVIC_EnableIRQ(DMA2_Stream0_IRQn);
	/* DMA2_Stream3_IRQn interrupt configuration */
	HAL_NVIC_SetPriority(DMA2_Stream3_IRQn, 0, 0);
	HAL_NVIC_EnableIRQ(DMA2_Stream3_IRQn);
	/* DMA2_Stream6_IRQn interrupt configuration */
	HAL_NVIC_SetPriority(DMA2_Stream6_IRQn, 0, 0);
	HAL_NVIC_EnableIRQ(DMA2_Stream6_IRQn);

}

static void MX_GPIO_Init(void)
{
	GPIO_InitTypeDef GPIO_InitStruct = { 0 };

	/* GPIO Ports Clock Enable */
	__HAL_RCC_GPIOE_CLK_ENABLE();
	__HAL_RCC_GPIOC_CLK_ENABLE();
	__HAL_RCC_GPIOH_CLK_ENABLE();
	__HAL_RCC_GPIOA_CLK_ENABLE();
	__HAL_RCC_GPIOB_CLK_ENABLE();
	__HAL_RCC_GPIOD_CLK_ENABLE();

	/*Configure GPIO pin Output Level */
	HAL_GPIO_WritePin(GPIOE, GPIO_PIN_2 | GPIO_PIN_4 | GPIO_PIN_5 | GPIO_PIN_6 | GPIO_PIN_7 | GPIO_PIN_0 | GPIO_PIN_1, GPIO_PIN_RESET);

	/*Configure GPIO pin Output Level */
	HAL_GPIO_WritePin(GPIOA, GPIO_PIN_4 | GPIO_PIN_6, GPIO_PIN_RESET);

	/*Configure GPIO pin Output Level */
	HAL_GPIO_WritePin(GPIOB, GPIO_PIN_9, GPIO_PIN_RESET);

	/*Configure GPIO pins : PE2 PE4 PE5 PE6
	 PE7 PE0 PE1 */
	GPIO_InitStruct.Pin = GPIO_PIN_2 | GPIO_PIN_4 | GPIO_PIN_5 | GPIO_PIN_6 | GPIO_PIN_7 | GPIO_PIN_0 | GPIO_PIN_1;
	GPIO_InitStruct.Mode = GPIO_MODE_OUTPUT_PP;
	GPIO_InitStruct.Pull = GPIO_NOPULL;
	GPIO_InitStruct.Speed = GPIO_SPEED_FREQ_LOW;
	HAL_GPIO_Init(GPIOE, &GPIO_InitStruct);

	/*Configure GPIO pin : PE3 */
	GPIO_InitStruct.Pin = GPIO_PIN_3;
	GPIO_InitStruct.Mode = GPIO_MODE_IT_RISING;
	GPIO_InitStruct.Pull = GPIO_NOPULL;
	HAL_GPIO_Init(GPIOE, &GPIO_InitStruct);

	/*Configure GPIO pin : PC15 */
	GPIO_InitStruct.Pin = GPIO_PIN_15;
	GPIO_InitStruct.Mode = GPIO_MODE_IT_RISING;
	GPIO_InitStruct.Pull = GPIO_NOPULL;
	HAL_GPIO_Init(GPIOC, &GPIO_InitStruct);

	/*Configure GPIO pins : PA4 PA6 */
	GPIO_InitStruct.Pin = GPIO_PIN_4 | GPIO_PIN_6;
	GPIO_InitStruct.Mode = GPIO_MODE_OUTPUT_PP;
	GPIO_InitStruct.Pull = GPIO_NOPULL;
	GPIO_InitStruct.Speed = GPIO_SPEED_FREQ_LOW;
	HAL_GPIO_Init(GPIOA, &GPIO_InitStruct);

	/*Configure GPIO pins : PD10 PD4 */
	GPIO_InitStruct.Pin = GPIO_PIN_10 | GPIO_PIN_4;
	GPIO_InitStruct.Mode = GPIO_MODE_IT_RISING;
	GPIO_InitStruct.Pull = GPIO_NOPULL;
	HAL_GPIO_Init(GPIOD, &GPIO_InitStruct);

	/*Configure GPIO pin : PC7 */
	GPIO_InitStruct.Pin = GPIO_PIN_7;
	GPIO_InitStruct.Mode = GPIO_MODE_INPUT;
	GPIO_InitStruct.Pull = GPIO_NOPULL;
	HAL_GPIO_Init(GPIOC, &GPIO_InitStruct);

	/*Configure GPIO pin : PB9 */
	GPIO_InitStruct.Pin = GPIO_PIN_9;
	GPIO_InitStruct.Mode = GPIO_MODE_OUTPUT_PP;
	GPIO_InitStruct.Pull = GPIO_NOPULL;
	GPIO_InitStruct.Speed = GPIO_SPEED_FREQ_LOW;
	HAL_GPIO_Init(GPIOB, &GPIO_InitStruct);

}

void Error_Handler(void)
{
	__disable_irq();
	while (1)
	{
	}
}
